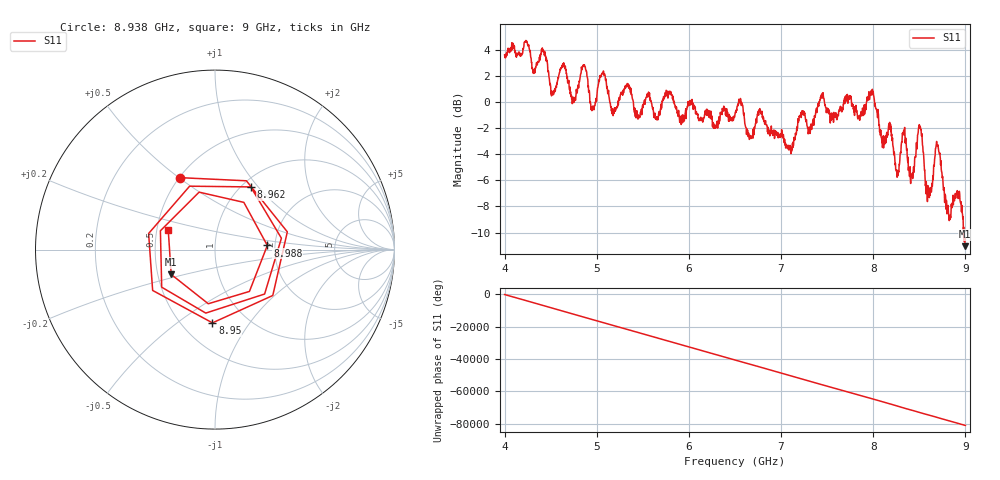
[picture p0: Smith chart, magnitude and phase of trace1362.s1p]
! Created with skrf 1.8.0 (http://scikit-rf.org).
# Hz S RI R 50.0
!freq ReS11 ImS11
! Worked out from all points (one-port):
!   1601 points, 4 GHz to 9 GHz, reference 50 ohm
!   lowest |S11| = -11.0 dB at 8.997 GHz (marker M1), VSWR 1.78, Z = 29.4 - j8.83 ohm
!   |S11| at or under -10 dB: 8.982977 GHz to end of sweep
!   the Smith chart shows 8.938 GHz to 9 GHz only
!   S11 on the Smith chart (normalised r, x): 8.938 GHz: 0.50, +0.50; 8.95 GHz: 0.70, -0.68; 8.962 GHz: 1.10, +0.92; 8.988 GHz: 1.82, +0.09; 9 GHz: 0.57, +0.14
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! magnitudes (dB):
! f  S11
! 4 GHz  3.6
! 4.422 GHz  4.0
! 4.528 GHz  0.6
! 4.625 GHz  2.7
! 4.747 GHz  0.1
! 4.859 GHz  2.8
! 4.953 GHz  -0.5
! 5.059 GHz  2.2
! 5.25 GHz  0.3
! 5.875 GHz  -0.8
! 6.5 GHz  -0.9
! 7.125 GHz  -3.1
! 7.438 GHz  0.5
! 7.75 GHz  0.3
! 7.988 GHz  1.0
! 8.259 GHz  -5.8
! 8.328 GHz  -2.3
! 8.375 GHz  -4.6
! 8.506 GHz  -1.8
! 8.591 GHz  -6.9
! 8.697 GHz  -3.4
! 8.816 GHz  -8.5
! 8.938 GHz  -7.0
! 8.95 GHz  -7.8
! 8.962 GHz  -7.9
! 8.988 GHz  -10.7
! 8.997 GHz  -11.0
! 9 GHz  -11.0
